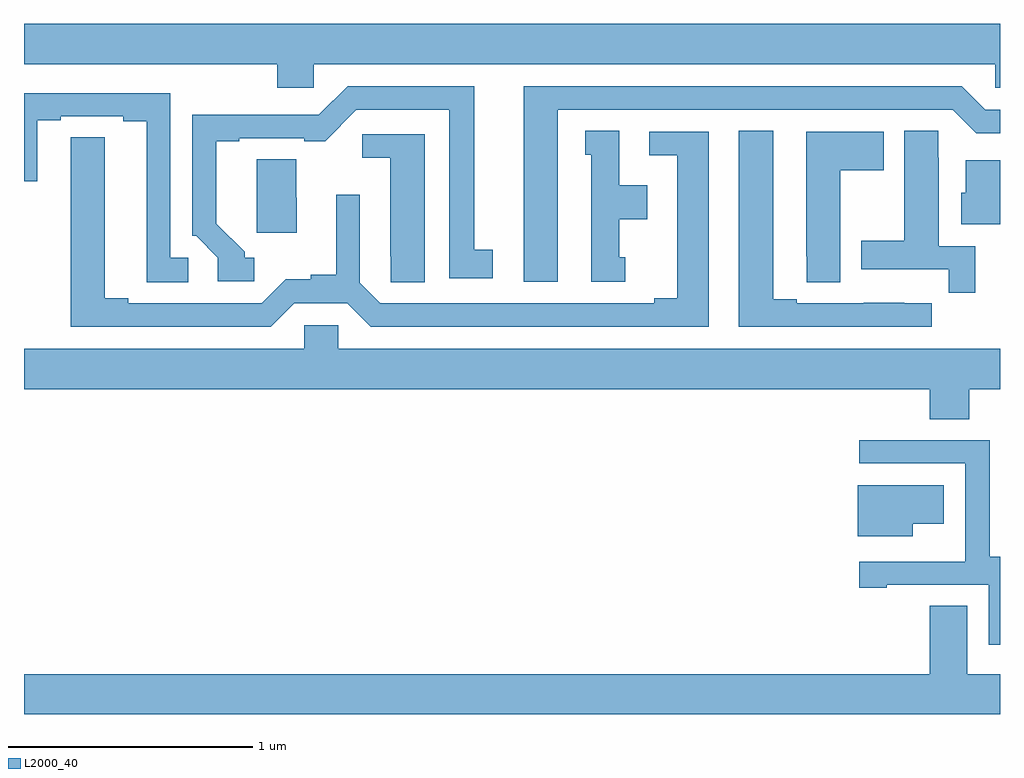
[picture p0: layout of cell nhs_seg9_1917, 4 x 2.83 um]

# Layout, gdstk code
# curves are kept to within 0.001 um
import gdstk
lib = gdstk.Library(unit=1e-6, precision=1e-09)
def P(c, l, *ps):  # polygons
    for p in ps: c.add(gdstk.Polygon(p, *l))
L2000_40 = (2000, 40)

nhs_seg9_1917 = lib.new_cell('nhs_seg9_1917')
P(nhs_seg9_1917, L2000_40, [(220.188,1185.764),(222.981,1185.764),(222.981,1185.666),(223,1185.666),(223,1185.928),(219,1185.928),(219,1185.764),(220.037,1185.764),(220.037,1185.666),(220.188,1185.666)],
  [(221.188,1185.576),(222.807,1185.576),(222.903,1185.48),(223,1185.48),(223,1185.576),(222.939,1185.576),(222.843,1185.672),(221.048,1185.672),(221.048,1184.871),(221.188,1184.871)],
  [(219.943,1184.97),(219.904,1184.97),(219.904,1184.994),(219.787,1185.11),(219.787,1185.447),(219.883,1185.447),(219.883,1185.459),(220.148,1185.459),(220.148,1185.448),(220.234,1185.448),(220.362,1185.576),(220.742,1185.576),(220.742,1184.886),(220.921,1184.886),(220.921,1185.002),(220.846,1185.002),(220.846,1185.672),(220.326,1185.672),(220.209,1185.555),(219.953,1185.555),(219.953,1185.557),(219.69,1185.557),(219.69,1185.06),(219.705,1185.06),(219.795,1184.97),(219.795,1184.874),(219.943,1184.874)],
  [(219.673,1184.97),(219.6,1184.97),(219.6,1185.645),(219,1185.645),(219,1185.283),(219.055,1185.283),(219.055,1185.534),(219.151,1185.534),(219.151,1185.549),(219.407,1185.549),(219.407,1185.529),(219.503,1185.529),(219.503,1184.869),(219.673,1184.869)],
  [(222.721,1184.784),(222.608,1184.784),(222.608,1184.785),(222.442,1184.785),(222.442,1184.784),(222.166,1184.784),(222.166,1184.799),(222.07,1184.799),(222.07,1185.491),(221.93,1185.491),(221.93,1184.688),(222.721,1184.688)],
  [(222.899,1185.018),(222.748,1185.018),(222.748,1185.38),(222.747,1185.38),(222.747,1185.491),(222.608,1185.491),(222.608,1185.039),(222.431,1185.039),(222.431,1184.922),(222.79,1184.922),(222.79,1184.826),(222.899,1184.826)],
  [(221.464,1184.973),(221.44,1184.973),(221.44,1185.128),(221.554,1185.128),(221.554,1185.268),(221.44,1185.268),(221.44,1185.491),(221.3,1185.491),(221.3,1185.393),(221.324,1185.393),(221.324,1184.871),(221.464,1184.871)],
  [(222.346,1185.328),(222.523,1185.328),(222.523,1185.487),(222.206,1185.487),(222.206,1184.977),(222.207,1184.977),(222.207,1184.869),(222.346,1184.869)],
  [(220.107,1184.784),(220.325,1184.784),(220.421,1184.688),(221.806,1184.688),(221.806,1185.486),(221.562,1185.486),(221.562,1185.39),(221.678,1185.39),(221.678,1184.804),(221.582,1184.804),(221.582,1184.784),(220.461,1184.784),(220.377,1184.868),(220.377,1185.229),(220.28,1185.229),(220.28,1184.9),(220.176,1184.9),(220.176,1184.882),(220.073,1184.882),(219.975,1184.784),(219.427,1184.784),(219.427,1184.804),(219.331,1184.804),(219.331,1185.464),(219.192,1185.464),(219.191,1184.688),(220.011,1184.688)],
  [(220.642,1185.477),(220.386,1185.477),(220.386,1185.38),(220.502,1185.38),(220.502,1184.977),(220.503,1184.977),(220.503,1184.869),(220.642,1184.869)],
  [(220.117,1185.216),(220.116,1185.216),(220.116,1185.374),(219.953,1185.374),(219.953,1185.072),(220.117,1185.072)],
  [(223,1185.37),(222.86,1185.37),(222.86,1185.237),(222.842,1185.237),(222.842,1185.107),(223,1185.107)],
  [(222.873,1184.432),(223,1184.432),(223,1184.596),(220.287,1184.596),(220.287,1184.694),(220.149,1184.694),(220.149,1184.596),(219,1184.596),(219,1184.432),(222.713,1184.432),(222.713,1184.308),(222.873,1184.308)],
  [(223,1183.745),(222.957,1183.745),(222.957,1184.223),(222.423,1184.223),(222.423,1184.127),(222.858,1184.127),(222.858,1183.726),(222.857,1183.726),(222.857,1183.725),(222.423,1183.725),(222.423,1183.617),(222.535,1183.617),(222.535,1183.629),(222.954,1183.629),(222.954,1183.383),(223,1183.383)],
  [(222.643,1183.88),(222.769,1183.88),(222.769,1184.038),(222.416,1184.038),(222.416,1183.829),(222.643,1183.829)],
  [(223,1183.264),(222.865,1183.264),(222.865,1183.544),(222.713,1183.544),(222.713,1183.264),(219,1183.264),(219,1183.1),(223,1183.1)])

lib.write_gds('nhs_seg9_1917.gds')
